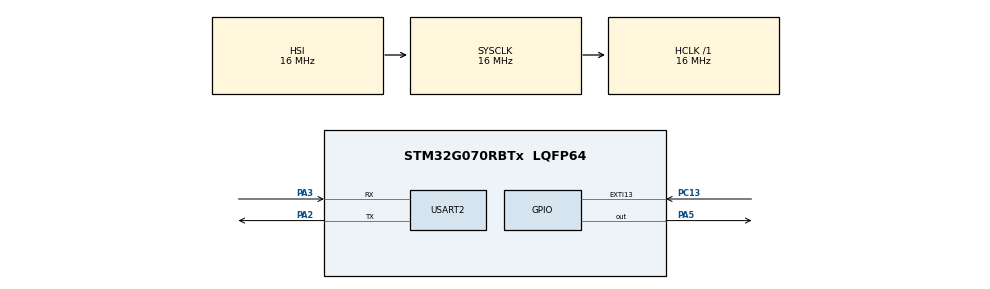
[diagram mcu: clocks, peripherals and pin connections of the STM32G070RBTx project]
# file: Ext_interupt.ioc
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Mcu.Family=STM32G0
Mcu.Name=STM32G070RBTx
Mcu.Package=LQFP64
NVIC.TIM3_IRQn=true\:3\:0\:false\:false\:true\:false\:true\:true
NVIC.TimeBase=TIM3_IRQn
NVIC.TimeBaseIP=TIM3
PA13.Mode=Serial_Wire
PA13.Signal=SYS_SWDIO
PA14-BOOT0.Mode=Serial_Wire
PA14-BOOT0.Signal=SYS_SWCLK
PA2.Mode=Asynchronous
PA2.Signal=USART2_TX
PA3.Mode=Asynchronous
PA3.Signal=USART2_RX
PA5.Signal=GPIO_Output
PC13.Signal=GPXTI13
PC14-OSC32_IN\ (PC14).Mode=LSE-External-Oscillator
PC14-OSC32_IN\ (PC14).Signal=RCC_OSC32_IN
PC15-OSC32_OUT\ (PC15).Mode=LSE-External-Oscillator
PC15-OSC32_OUT\ (PC15).Signal=RCC_OSC32_OUT
PF0-OSC_IN\ (PF0).Mode=HSE-External-Clock-Source
PF0-OSC_IN\ (PF0).Signal=RCC_OSC_IN
ProjectManager.HeapSize=0x200
ProjectManager.StackSize=0x400
ProjectManager.TargetToolchain=STM32CubeIDE
RCC.AHBFreq_Value=16000000
RCC.CortexFreq_Value=16000000
RCC.EXTERNAL_CLOCK_VALUE=12288000
RCC.HCLKFreq_Value=16000000
RCC.HSE_VALUE=8000000
RCC.HSI_VALUE=16000000
RCC.SYSCLKFreq_VALUE=16000000
RCC.VCOOutputFreq_Value=128000000
USART2.VirtualMode-Asynchronous=VM_ASYNC
VP_SYS_VS_tim3.Mode=TIM3
board=NUCLEO-G070RB

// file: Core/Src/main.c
/* USER CODE BEGIN Header */
/**
  ******************************************************************************
  * @file           : main.c
  * @brief          : Main program body
  ******************************************************************************
  * @attention
  *
  * Copyright (c) 2023 STMicroelectronics.
  * All rights reserved.
  *
  * This software is licensed under terms that can be found in the LICENSE file
  * in the root directory of this software component.
  * If no LICENSE file comes with this software, it is provided AS-IS.
  *
  ******************************************************************************
  */
/* USER CODE END Header */
#include "main.h"
#include <stdio.h>

/* USER CODE BEGIN Includes */
#include "FreeRTOS.h"
#include "task.h"

/* USER CODE END Includes */

/* USER CODE BEGIN PD */
#define LED_PIN GPIO_PIN_5
#define LED_PORT GPIOA
#define BUTTON_PIN GPIO_PIN_13
#define BUTTON_PORT GPIOC
#define EXTI_LINE EXTI_LINE_13
#define EXTI_IRQ EXTI4_15_IRQn
#define EXTI_IRQ_PRIORITY 5

/* USER CODE END PD */

UART_HandleTypeDef huart2;

/* USER CODE BEGIN PV */
EXTI_HandleTypeDef hexti;
volatile uint8_t g_button_pressed = 0; // Flag to indicate button press
TaskHandle_t xTask1Handle = NULL; // Handle for task 1
TaskHandle_t xTask2Handle = NULL; // Handle for task 2
TaskHandle_t xTask3Handle = NULL; // Handle for task 3

/* USER CODE END PV */

void SystemClock_Config(void);
static void MX_GPIO_Init(void);
static void MX_USART2_UART_Init(void);
/* USER CODE BEGIN PFP */
void GPIO_Init(void); // Initialize GPIO pins
void EXTI_Init(void); // Initialize external interrupt
void vTask1(void *pvParameters); // Task 1 function
void vTask2(void *pvParameters); // Task 2 function
void vTask3(void *pvParameters); // Task 3 function

/* USER CODE END PFP */

int main(void)
{

  /* MCU Configuration--------------------------------------------------------*/

  /* Reset of all peripherals, Initializes the Flash interface and the Systick. */
  HAL_Init();

  /* USER CODE BEGIN Init */
  GPIO_Init();
  EXTI_Init();

  /* USER CODE END Init */

  /* Configure the system clock */
  SystemClock_Config();

  /* Initialize all configured peripherals */
  MX_GPIO_Init();
  MX_USART2_UART_Init();
  /* USER CODE BEGIN 2 */

  // Create three tasks with different priorities
      xTaskCreate(vTask1, "Task 1", configMINIMAL_STACK_SIZE, NULL, 1, &xTask1Handle);
      xTaskCreate(vTask2, "Task 2", configMINIMAL_STACK_SIZE, NULL,  1, &xTask2Handle);
      xTaskCreate(vTask3, "Task 3", configMINIMAL_STACK_SIZE, NULL,  1, &xTask3Handle);

      // Suspend the tasks until button is pressed
      vTaskSuspend(xTask1Handle);
      vTaskSuspend(xTask2Handle);
      vTaskSuspend(xTask3Handle);

      // Start the scheduler
      vTaskStartScheduler();

  /* USER CODE END 2 */

  /* Infinite loop */
  while (1)
  {

  }
}

void SystemClock_Config(void)
{
  RCC_OscInitTypeDef RCC_OscInitStruct = {0};
  RCC_ClkInitTypeDef RCC_ClkInitStruct = {0};

  /** Configure the main internal regulator output voltage
  */
  HAL_PWREx_ControlVoltageScaling(PWR_REGULATOR_VOLTAGE_SCALE1);

  /** Initializes the RCC Oscillators according to the specified parameters
  * in the RCC_OscInitTypeDef structure.
  */
  RCC_OscInitStruct.OscillatorType = RCC_OSCILLATORTYPE_HSI;
  RCC_OscInitStruct.HSIState = RCC_HSI_ON;
  RCC_OscInitStruct.HSIDiv = RCC_HSI_DIV1;
  RCC_OscInitStruct.HSICalibrationValue = RCC_HSICALIBRATION_DEFAULT;
  RCC_OscInitStruct.PLL.PLLState = RCC_PLL_NONE;
  if (HAL_RCC_OscConfig(&RCC_OscInitStruct) != HAL_OK)
  {
    Error_Handler();
  }

  /** Initializes the CPU, AHB and APB buses clocks
  */
  RCC_ClkInitStruct.ClockType = RCC_CLOCKTYPE_HCLK|RCC_CLOCKTYPE_SYSCLK
                              |RCC_CLOCKTYPE_PCLK1;
  RCC_ClkInitStruct.SYSCLKSource = RCC_SYSCLKSOURCE_HSI;
  RCC_ClkInitStruct.AHBCLKDivider = RCC_SYSCLK_DIV1;
  RCC_ClkInitStruct.APB1CLKDivider = RCC_HCLK_DIV1;

  if (HAL_RCC_ClockConfig(&RCC_ClkInitStruct, FLASH_LATENCY_0) != HAL_OK)
  {
    Error_Handler();
  }
}

static void MX_USART2_UART_Init(void)
{

  huart2.Instance = USART2;
  huart2.Init.BaudRate = 115200;
  huart2.Init.WordLength = UART_WORDLENGTH_8B;
  huart2.Init.StopBits = UART_STOPBITS_1;
  huart2.Init.Parity = UART_PARITY_NONE;
  huart2.Init.Mode = UART_MODE_TX_RX;
  huart2.Init.HwFlowCtl = UART_HWCONTROL_NONE;
  huart2.Init.OverSampling = UART_OVERSAMPLING_16;
  huart2.Init.OneBitSampling = UART_ONE_BIT_SAMPLE_DISABLE;
  huart2.Init.ClockPrescaler = UART_PRESCALER_DIV1;
  huart2.AdvancedInit.AdvFeatureInit = UART_ADVFEATURE_NO_INIT;
  if (HAL_UART_Init(&huart2) != HAL_OK)
  {
    Error_Handler();
  }
  if (HAL_UARTEx_SetTxFifoThreshold(&huart2, UART_TXFIFO_THRESHOLD_1_8) != HAL_OK)
  {
    Error_Handler();
  }
  if (HAL_UARTEx_SetRxFifoThreshold(&huart2, UART_RXFIFO_THRESHOLD_1_8) != HAL_OK)
  {
    Error_Handler();
  }
  if (HAL_UARTEx_DisableFifoMode(&huart2) != HAL_OK)
  {
    Error_Handler();
  }

}

static void MX_GPIO_Init(void)
{
  GPIO_InitTypeDef GPIO_InitStruct = {0};
  //EXTI_HandleTypeDef hexti;

  /* GPIO Ports Clock Enable */
  __HAL_RCC_GPIOC_CLK_ENABLE();
  __HAL_RCC_GPIOF_CLK_ENABLE();
  __HAL_RCC_GPIOA_CLK_ENABLE();

  /*Configure GPIO pin Output Level */
  HAL_GPIO_WritePin(GPIOA, GPIO_PIN_5, GPIO_PIN_RESET);

  /*Configure GPIO pin : PC13 */
  GPIO_InitStruct.Pin = GPIO_PIN_13;
  GPIO_InitStruct.Mode = GPIO_MODE_IT_RISING;
  GPIO_InitStruct.Pull = GPIO_NOPULL;
  HAL_GPIO_Init(GPIOC, &GPIO_InitStruct);

  /*Configure GPIO pin : PA5 */
  GPIO_InitStruct.Pin = GPIO_PIN_5;
  GPIO_InitStruct.Mode = GPIO_MODE_OUTPUT_PP;
  GPIO_InitStruct.Pull = GPIO_NOPULL;
  GPIO_InitStruct.Speed = GPIO_SPEED_FREQ_LOW;
  HAL_GPIO_Init(GPIOA, &GPIO_InitStruct);

}

/* USER CODE BEGIN 4 */
// GPIO initialization function
void GPIO_Init(void)
{

    // Enable GPIOA and GPIOC clock
    __HAL_RCC_GPIOA_CLK_ENABLE();
    __HAL_RCC_GPIOC_CLK_ENABLE();

    // Configure LED pin as output
    GPIO_InitTypeDef GPIO_InitStruct = {0};
    GPIO_InitStruct.Pin = LED_PIN;
    GPIO_InitStruct.Mode = GPIO_MODE_OUTPUT_PP;
    GPIO_InitStruct.Pull = GPIO_NOPULL;
    GPIO_InitStruct.Speed = GPIO_SPEED_FREQ_LOW;
    HAL_GPIO_Init(LED_PORT, &GPIO_InitStruct);

    // Configure button pin as input
    GPIO_InitStruct.Pin = BUTTON_PIN;
    GPIO_InitStruct.Mode = GPIO_MODE_IT_RISING;
    GPIO_InitStruct.Pull = GPIO_PULLUP;
    HAL_GPIO_Init(BUTTON_PORT, &GPIO_InitStruct);

    // Enable and set EXTI interrupt
    HAL_NVIC_SetPriority(EXTI_IRQ, EXTI_IRQ_PRIORITY, 0);
    HAL_NVIC_EnableIRQ(EXTI_IRQ);
}

// External interrupt initialization function
void EXTI_Init(void)
{
	EXTI_ConfigTypeDef extiConfig;
	extiConfig.Line = EXTI_LINE_13;
	extiConfig.Mode = EXTI_MODE_INTERRUPT;
	extiConfig.Trigger = EXTI_TRIGGER_RISING_FALLING;
	HAL_EXTI_SetConfigLine(&hexti, &extiConfig);

    // Configure EXTI line for button interrupt
    //HAL_EXTI_SetConfigLine(&hexti, EXTI_LINE);
}

void transmit1 (void)
{
	uint8_t data[] = "HELLO TASK1\r\n";
	HAL_UART_Transmit(&huart2, data, sizeof(data), 1000);
}

void transmit2 (void)
{
	uint8_t data[] = "HELLO TASK2\r\n";
	HAL_UART_Transmit(&huart2, data, sizeof(data), 1000);
}

void transmit3 (void)
{
	uint8_t data[] = "HELLO TASK3\r\n";
	HAL_UART_Transmit(&huart2, data, sizeof(data), 1000);
}

// Task 1 function: Toggle LED every second
void vTask1(void *pvParameters)
{
    while (1)
    {
        HAL_GPIO_TogglePin(LED_PORT, LED_PIN);
        transmit1();
        vTaskDelay(pdMS_TO_TICKS(1000));

    }
}

// Task 2 function: Print a message every two seconds
void vTask2(void *pvParameters)
{
    while (1)
    {
        printf("Hello from task 2\n");
        transmit2();
        vTaskDelay(pdMS_TO_TICKS(1000));
    }
}

// Task 3 function: Print a message every three seconds
void vTask3(void *pvParameters)
{
    while (1)
    {
        printf("Hello from task 3\n");
        transmit3();
        vTaskDelay(pdMS_TO_TICKS(1000));
    }
}

// External interrupt handler function: Resume tasks on button press
void EXTI4_15_IRQHandler(void)
{
    if (__HAL_GPIO_EXTI_GET_FLAG(BUTTON_PIN))
    {
        HAL_GPIO_EXTI_IRQHandler(BUTTON_PIN);

        g_button_pressed = !g_button_pressed;

        if (g_button_pressed)
        {
            vTaskResume(xTask1Handle);
            vTaskResume(xTask2Handle);
            vTaskResume(xTask3Handle);
        }
        else
        {
            vTaskSuspend(xTask1Handle);
            vTaskSuspend(xTask2Handle);
            vTaskSuspend(xTask3Handle);
        }
    }
}

// EXTI interrupt callback function
void HAL_GPIO_EXTI_Callback(uint16_t GPIO_Pin)
{
    if (GPIO_Pin == BUTTON_PIN)
    {
        // Handle button interrupt if needed
    }
}

/* USER CODE END 4 */

void HAL_TIM_PeriodElapsedCallback(TIM_HandleTypeDef *htim)
{
  if (htim->Instance == TIM3) {
    HAL_IncTick();
  }
}

void Error_Handler(void)
{
  __disable_irq();
  while (1)
  {
  }
}
